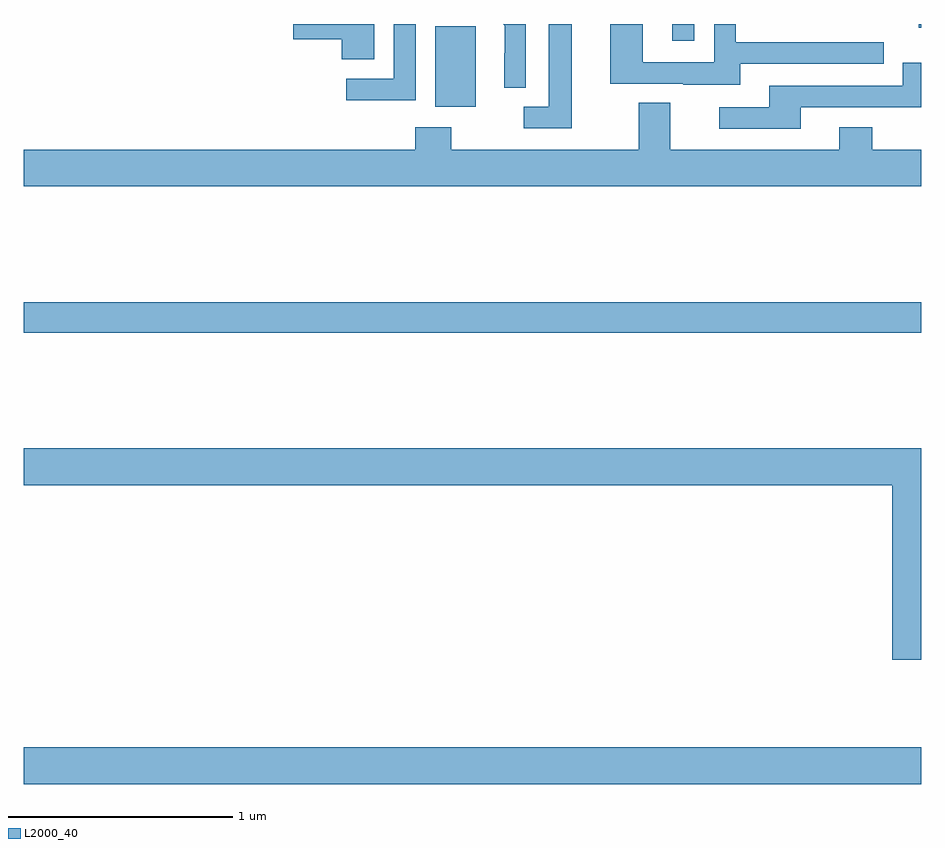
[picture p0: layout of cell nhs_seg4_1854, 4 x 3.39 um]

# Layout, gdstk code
import gdstk
lib = gdstk.Library(unit=1e-6, precision=1e-09)
def R(c, l, rs):  # rectangles x0, y0, x1, y1
    for r in rs: c.add(gdstk.rectangle(r[:2], r[2:], *l))
def P(c, l, *ps):  # polygons
    for p in ps: c.add(gdstk.Polygon(p, *l))
L2000_40 = (2000, 40)

nhs_seg4_1854 = lib.new_cell('nhs_seg4_1854')
R(nhs_seg4_1854, L2000_40, [(207,771.512,211,771.676), (207,773.524,211,773.66), (208.835,774.53,209.014,774.891), (209.891,774.825,209.988,774.9), (210.989,774.884,211,774.9)])
P(nhs_seg4_1854, L2000_40, [(208.561,774.9),(208.2,774.9),(208.2,774.833),(208.418,774.833),(208.418,774.742),(208.561,774.742)],
  [(210.193,774.723),(210.833,774.723),(210.833,774.819),(210.174,774.819),(210.174,774.9),(210.078,774.9),(210.078,774.729),(209.76,774.729),(209.76,774.9),(209.615,774.9),(209.615,774.633),(209.939,774.633),(209.939,774.629),(210.193,774.629)],
  [(209.443,774.9),(209.339,774.9),(209.339,774.531),(209.229,774.531),(209.229,774.435),(209.443,774.435)],
  [(208.746,774.9),(208.65,774.9),(208.65,774.657),(208.437,774.657),(208.437,774.559),(208.746,774.559)],
  [(209.238,774.9),(209.137,774.9),(209.144,774.893),(209.144,774.77),(209.142,774.77),(209.142,774.616),(209.238,774.616)],
  [(210.463,774.528),(211,774.528),(211,774.727),(210.918,774.727),(210.918,774.624),(210.323,774.624),(210.323,774.528),(210.099,774.528),(210.099,774.432),(210.463,774.432)],
  [(211,774.34),(210.783,774.34),(210.783,774.439),(210.635,774.439),(210.635,774.34),(209.881,774.34),(209.881,774.548),(209.741,774.548),(209.741,774.34),(208.905,774.34),(208.905,774.439),(208.745,774.439),(208.745,774.34),(207,774.34),(207,774.176),(211,774.176)],
  [(211,773.008),(207,773.008),(207,772.844),(210.872,772.844),(210.872,772.065),(211,772.065)])

lib.write_gds('nhs_seg4_1854.gds')
